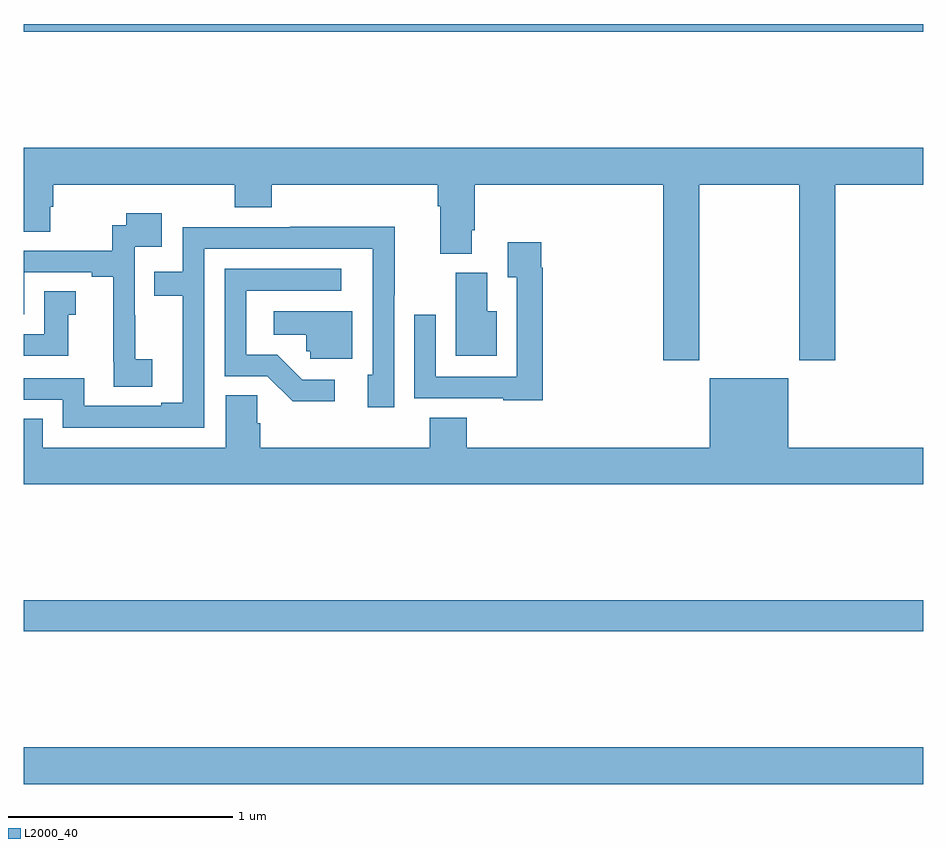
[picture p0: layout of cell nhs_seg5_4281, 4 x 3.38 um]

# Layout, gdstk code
import gdstk
lib = gdstk.Library(unit=1e-6, precision=1e-09)
def R(c, l, rs):  # rectangles x0, y0, x1, y1
    for r in rs: c.add(gdstk.rectangle(r[:2], r[2:], *l))
def P(c, l, *ps):  # polygons
    for p in ps: c.add(gdstk.Polygon(p, *l))
L2000_40 = (2000, 40)

nhs_seg5_4281 = lib.new_cell('nhs_seg5_4281')
R(nhs_seg5_4281, L2000_40, [(363,863.42,367,863.584), (363,864.1,367,864.236), (363,866.764,367,866.799)])
P(nhs_seg5_4281, L2000_40, [(366.003,866.084),(366.448,866.084),(366.448,865.305),(366.608,865.305),(366.608,866.084),(367,866.084),(367,866.248),(363,866.248),(363,865.876),(363.118,865.876),(363.118,865.986),(363.131,865.986),(363.131,866.084),(363.938,866.084),(363.938,865.985),(364.103,865.985),(364.103,866.084),(364.841,866.084),(364.841,865.988),(364.853,865.988),(364.853,865.777),(364.993,865.777),(364.993,865.882),(365.006,865.882),(365.006,866.084),(365.843,866.084),(365.843,865.305),(366.003,865.305)],
  [(363.571,865.308),(363.497,865.308),(363.497,865.505),(363.495,865.505),(363.495,865.809),(363.613,865.809),(363.613,865.957),(363.457,865.957),(363.457,865.905),(363.394,865.905),(363.394,865.791),(363,865.791),(363,865.509),(363.003,865.509),(363.003,865.695),(363.302,865.695),(363.302,865.675),(363.398,865.675),(363.398,865.297),(363.4,865.297),(363.4,865.186),(363.571,865.186)],
  [(363.804,865.8),(364.551,865.8),(364.551,865.239),(364.529,865.239),(364.529,865.095),(364.647,865.095),(364.647,865.594),(364.649,865.594),(364.649,865.898),(364.186,865.898),(364.186,865.896),(363.708,865.896),(363.708,865.698),(363.58,865.698),(363.58,865.59),(363.707,865.59),(363.707,865.116),(363.611,865.116),(363.611,865.101),(363.27,865.101),(363.27,865.224),(363,865.224),(363,865.128),(363.174,865.128),(363.174,865.005),(363.804,865.005)],
  [(365.309,865.715),(365.302,865.715),(365.302,865.828),(365.153,865.828),(365.153,865.672),(365.193,865.672),(365.193,865.23),(364.833,865.23),(364.833,865.507),(364.737,865.507),(364.737,865.134),(365.133,865.134),(365.133,865.127),(365.309,865.127)],
  [(364.384,865.218),(364.239,865.218),(364.128,865.329),(363.99,865.329),(363.99,865.614),(364.411,865.614),(364.411,865.71),(363.894,865.71),(363.894,865.233),(364.083,865.233),(364.196,865.121),(364.384,865.121)],
  [(365.104,865.522),(365.062,865.522),(365.062,865.692),(364.922,865.692),(364.922,865.325),(365.104,865.325)],
  [(363.199,865.507),(363.232,865.507),(363.232,865.61),(363.092,865.61),(363.092,865.419),(363,865.419),(363,865.323),(363.199,865.323)],
  [(364.462,865.522),(364.113,865.522),(364.113,865.418),(364.257,865.418),(364.257,865.344),(364.275,865.344),(364.275,865.311),(364.462,865.311)],
  [(367,864.916),(366.4,864.916),(366.4,865.225),(366.05,865.225),(366.05,864.916),(364.97,864.916),(364.97,865.049),(364.805,865.049),(364.805,864.916),(364.052,864.916),(364.052,865.025),(364.038,865.025),(364.038,865.148),(363.899,865.148),(363.899,864.916),(363.085,864.916),(363.085,865.043),(363,865.043),(363,864.752),(367,864.752)])

lib.write_gds('nhs_seg5_4281.gds')
